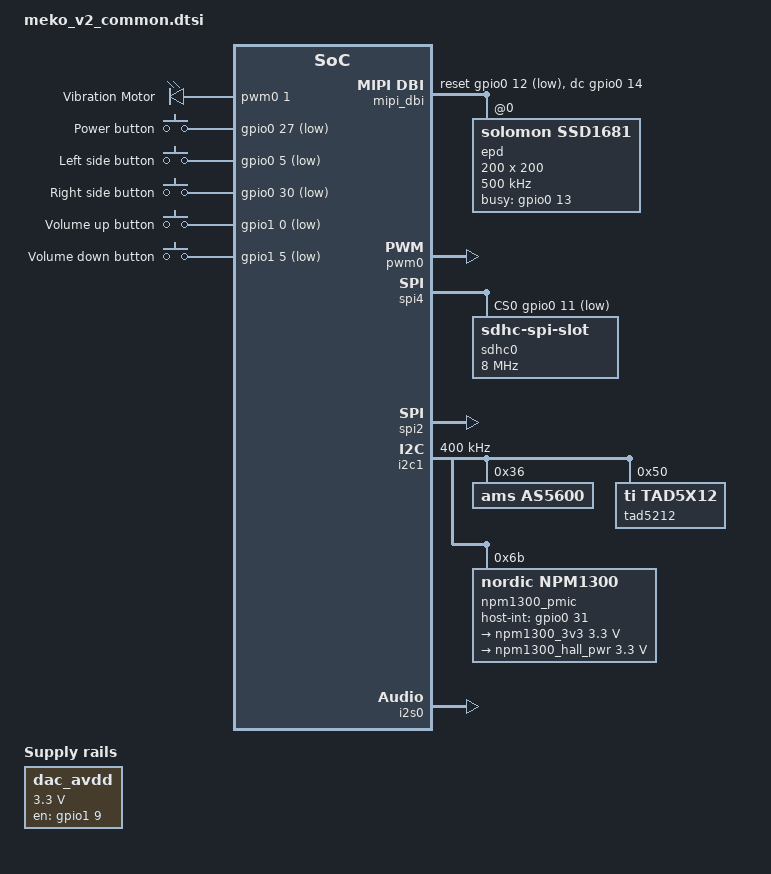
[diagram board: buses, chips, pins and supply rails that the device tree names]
#include <zephyr/dt-bindings/mipi_dbi/mipi_dbi.h>
#include <dt-bindings/regulator/npm13xx.h>

/ {

    chosen {
        zephyr,display=&epd;
    };

    aliases {
        vib-motor = &vib_motor;
    };

    pwm_motor_driver {
        compatible = "pwm-leds";

        vib_motor: vib_motor {
            pwms = <&pwm0 1 PWM_MSEC(20) PWM_POLARITY_NORMAL>;
            label = "Vibration Motor";
        };
    };

    dac_avdd: dac-avdd {
        compatible = "regulator-fixed";
        regulator-name = "sensor_supply";

        regulator-min-microvolt = <3300000>;
        regulator-max-microvolt = <3300000>;

        enable-gpios = <&gpio1 9 GPIO_ACTIVE_HIGH>;

        startup-delay-us = <1000>;
        regulator-boot-on;
    };

    buttons {
        compatible = "gpio-keys";

        debounce-interval-ms = <300>;

        button_power: button-0 {
            gpios = <&gpio0 27 (GPIO_PULL_UP | GPIO_ACTIVE_LOW)>;
            label = "Power button";
            zephyr,code = <INPUT_KEY_0>;
        };

        button_side_left: button-1 {
            gpios = <&gpio0 5 (GPIO_PULL_UP | GPIO_ACTIVE_LOW)>;
            label = "Left side button";
            zephyr,code = <INPUT_KEY_1>;
        };

        button_side_right: button-2 {
            gpios = <&gpio0 30 (GPIO_PULL_UP | GPIO_ACTIVE_LOW)>;
            label = "Right side button";
            zephyr,code = <INPUT_KEY_2>;
        };

        button_volume_up: button-3 {
            gpios = <&gpio1 0 (GPIO_PULL_UP | GPIO_ACTIVE_LOW)>;
            label = "Volume up button";
            zephyr,code = <INPUT_KEY_3>;
        };

        button_volume_down: button-4 {
            gpios = <&gpio1 5 (GPIO_PULL_UP | GPIO_ACTIVE_LOW)>;
            label = "Volume down button";
            zephyr,code = <INPUT_KEY_4>;
        };
    };

    mipi_dbi {
        status = "okay";
        compatible = "zephyr,mipi-dbi-spi";
        spi-dev = <&spi2>;

        dc-gpios = <&gpio0  14 GPIO_ACTIVE_HIGH>;
        reset-gpios = <&gpio0 12 GPIO_ACTIVE_LOW>;

        #address-cells = <1>;
        #size-cells = <0>;

        epd: ssd16xx@0 {
            status = "okay";
            compatible = "solomon,ssd1681";
            mipi-max-frequency = <500000>;
            reg = <0>;

            width = <200>;
            height = <200>;

            rotation = <270>;

            busy-gpios = <&gpio0 13 GPIO_ACTIVE_HIGH>;

            tssv = <0x80>;

            full {
                border-waveform = <0x05>;
            };

            partial {
                border-waveform = <0x3c>;
            };
        };
    };
};

&pwm0 {
    status = "okay";
    pinctrl-0 = <&pwm0_default>;
    pinctrl-1 = <&pwm0_sleep>;
    pinctrl-names = "default", "sleep";
};

&gpio0 {
    status = "okay";
};

&gpio1 {
    status = "okay";
};

&gpiote {
    status = "okay";
};

&hfxo {
    load-capacitors = "internal";
    load-capacitance-femtofarad = <12000>;
};

&lfxo {
    load-capacitors = "internal";
    load-capacitance-picofarad = <7>;
};

&spi4 {
    compatible = "nordic,nrf-spim";
    status = "okay";
    cs-gpios = <&gpio0 11 GPIO_ACTIVE_LOW>;
    pinctrl-0 = <&spi4_default>;
    pinctrl-1 = <&spi4_sleep>;
    pinctrl-names = "default", "sleep";

    sdhc0: sdhc@0 {
        compatible = "zephyr,sdhc-spi-slot";
        reg = <0>;
        status = "okay";
        spi-max-frequency = <8000000>;

        sdmmc {
            compatible = "zephyr,sdmmc-disk";
            disk-name = "SD";
            status = "okay";
        };
    };
};

&spi2 {
    compatible = "nordic,nrf-spim";
    status = "okay";
    pinctrl-0 = <&spi2_default>;
    pinctrl-1 = <&spi2_sleep>;
    pinctrl-names = "default", "sleep";
    cs-gpios = <&gpio0 16 GPIO_ACTIVE_LOW>;
};

&i2c1 {
    compatible = "nordic,nrf-twim";
    status = "okay";
    pinctrl-0 = <&i2c1_default>;
    pinctrl-1 = <&i2c1_sleep>;
    pinctrl-names = "default", "sleep";
    clock-frequency = <I2C_BITRATE_FAST>;

    as5600: as5600@36 {
        compatible = "ams,as5600";
        reg = <0x36>;

        friendly-name = "hall rotation sensor";
    };

    tad5212: tad5212@50 {
        compatible = "ti,tad5x12";
        status = "okay";

        reg = <0x50>;
    };

    npm1300_pmic: npm1300@6b {
        compatible = "nordic,npm1300";
        reg = <0x6b>;

        host-int-gpios = <&gpio0 31 0>;
        pmic-int-pin = <1>;

        npm1300_leds: led-controller {
            compatible = "nordic,npm1300-led";

            nordic,led0-mode = "host";
            nordic,led1-mode = "host";
            nordic,led2-mode = "host";
        };

        npm1300_regulators: regulators {
            compatible = "nordic,npm1300-regulator";

            npm1300_buck1: BUCK1 {
                status = "disabled";
            };

            npm1300_3v3: BUCK2 {
                regulator-min-microvolt = <3300000>;
                regulator-max-microvolt = <3300000>;
                regulator-boot-on;
            };

            npm1300_hall_pwr: LDO1 {
                regulator-min-microvolt = <3300000>;
                regulator-max-microvolt = <3300000>;
                regulator-initial-mode = <NPM13XX_LDSW_MODE_LDO>;
                regulator-boot-on;
            };

            npm1300_ldo2: LDO2 {
                status = "disabled";
            };
        };
    };
};

&i2s0 {
    compatible = "nordic,nrf-i2s";
    status = "okay";
    pinctrl-0 = <&i2s0_default>;
    pinctrl-1 = <&i2s0_sleep>;
    pinctrl-names = "default", "sleep";
};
